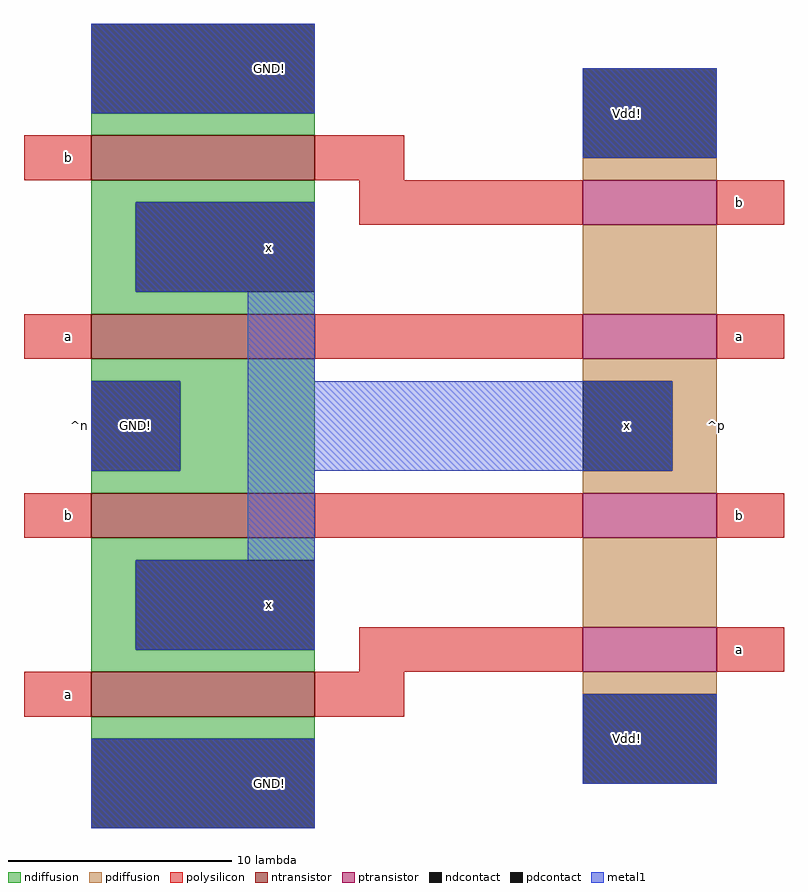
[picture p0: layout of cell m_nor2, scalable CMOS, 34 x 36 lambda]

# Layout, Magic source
magic
tech scmos
<< ndiffusion >>
rect -157 415 -147 416
rect -157 412 -147 413
rect -157 408 -155 412
rect -157 407 -147 408
rect -157 404 -147 405
rect -153 400 -147 404
rect -157 399 -147 400
rect -157 396 -147 397
rect -157 392 -155 396
rect -157 391 -147 392
rect -157 388 -147 389
<< pdiffusion >>
rect -135 413 -129 414
rect -135 407 -129 411
rect -135 404 -129 405
rect -131 400 -129 404
rect -135 399 -129 400
rect -135 393 -129 397
rect -135 390 -129 391
<< ntransistor >>
rect -157 413 -147 415
rect -157 405 -147 407
rect -157 397 -147 399
rect -157 389 -147 391
<< ptransistor >>
rect -135 411 -129 413
rect -135 405 -129 407
rect -135 397 -129 399
rect -135 391 -129 393
<< polysilicon >>
rect -160 413 -157 415
rect -147 413 -143 415
rect -145 411 -135 413
rect -129 411 -126 413
rect -160 405 -157 407
rect -147 405 -135 407
rect -129 405 -126 407
rect -160 397 -157 399
rect -147 397 -135 399
rect -129 397 -126 399
rect -145 391 -135 393
rect -129 391 -126 393
rect -160 389 -157 391
rect -147 389 -143 391
<< ndcontact >>
rect -157 416 -147 420
rect -155 408 -147 412
rect -157 400 -153 404
rect -155 392 -147 396
rect -157 384 -147 388
<< pdcontact >>
rect -135 414 -129 418
rect -135 400 -131 404
rect -135 386 -129 390
<< metal1 >>
rect -157 416 -147 420
rect -135 414 -129 418
rect -155 408 -147 412
rect -150 404 -147 408
rect -157 400 -153 404
rect -150 400 -131 404
rect -150 396 -147 400
rect -155 392 -147 396
rect -157 384 -147 388
rect -135 386 -129 390
<< labels >>
rlabel polysilicon -128 406 -128 406 7 a
rlabel polysilicon -128 412 -128 412 7 b
rlabel polysilicon -128 392 -128 392 7 a
rlabel polysilicon -128 398 -128 398 7 b
rlabel space -132 385 -126 419 3 ^p
rlabel polysilicon -158 414 -158 414 3 b
rlabel polysilicon -158 390 -158 390 3 a
rlabel space -161 383 -154 421 7 ^n
rlabel polysilicon -158 398 -158 398 3 b
rlabel polysilicon -158 406 -158 406 3 a
rlabel ndcontact -149 418 -149 418 5 GND!
rlabel ndcontact -149 386 -149 386 1 GND!
rlabel ndcontact -149 394 -149 394 1 x
rlabel ndcontact -149 410 -149 410 1 x
rlabel pdcontact -133 402 -133 402 1 x
rlabel pdcontact -133 416 -133 416 5 Vdd!
rlabel pdcontact -133 388 -133 388 1 Vdd!
rlabel ndcontact -155 402 -155 402 1 GND!
<< end >>
